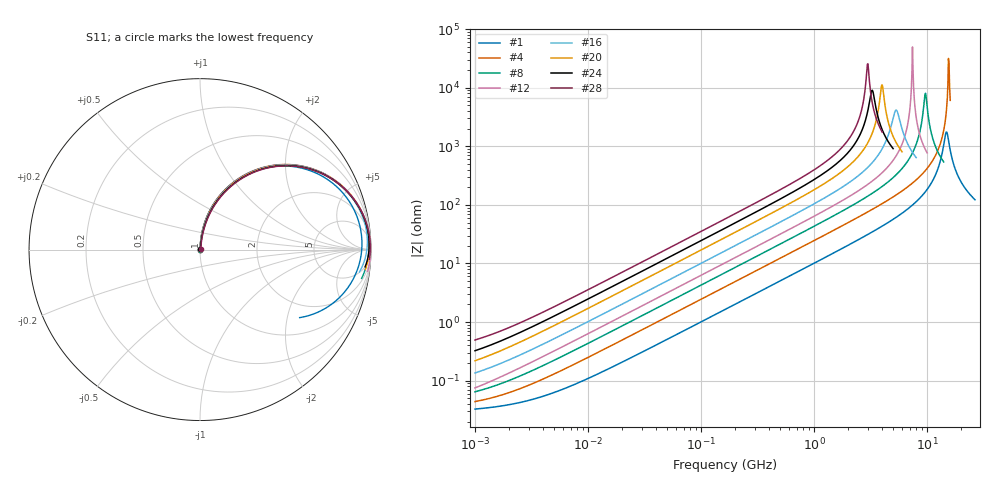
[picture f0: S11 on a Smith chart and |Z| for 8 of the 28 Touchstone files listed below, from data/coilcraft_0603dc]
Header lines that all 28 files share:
!Freq  MagS11  AngS11  MagS21  AngS21  MagS12  AngS12  MagS22  AngS22
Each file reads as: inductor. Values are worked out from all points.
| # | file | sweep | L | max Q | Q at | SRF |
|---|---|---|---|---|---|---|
| 1 | 0603DC-1N6.s2p | 1 MHz to 26.5 GHz | 1.6 nH | 90.2 | 3.5 GHz | 14.88 GHz |
| 2 | 0603DC-2N7.s2p | 1 MHz to 26.5 GHz | 2.7 nH | 123 | 2.051 GHz | 11.92 GHz |
| 3 | 0603DC-3N3.s2p | 1 MHz to 14 GHz | 3.3 nH | 142 | 2.228 GHz | 10.21 GHz |
| 4 | 0603DC-3N9.s2p | 1 MHz to 16 GHz | 3.9 nH | 254 | 5.517 GHz | 15.43 GHz |
| 5 | 0603DC-4N3.s2p | 1 MHz to 16 GHz | 4.3 nH | 195 | 3.279 GHz | 13.34 GHz |
| 6 | 0603DC-5N1.s2p | 1 MHz to 14 GHz | 5.1 nH | 180 | 3.858 GHz | 10.77 GHz |
| 7 | 0603DC-6N2.s2p | 1 MHz to 14 GHz | 6.2 nH | 180 | 3.384 GHz | 11.03 GHz |
| 8 | 0603DC-6N8.s2p | 1 MHz to 14 GHz | 6.8 nH | 143 | 2.282 GHz | 9.556 GHz |
| 9 | 0603DC-7N5.s2p | 1 MHz to 12 GHz | 7.5 nH | 165 | 3.11 GHz | 9.378 GHz |
| 10 | 0603DC-8N2.s2p | 1 MHz to 14 GHz | 8.2 nH | 166 | 3.265 GHz | 8.583 GHz |
| 11 | 0603DC-9N1.s2p | 1 MHz to 10 GHz | 9.1 nH | 153 | 2.884 GHz | 8.222 GHz |
| 12 | 0603DC-10N.s2p | 1 MHz to 10 GHz | 10 nH | 137 | 2.692 GHz | 7.413 GHz |
| 13 | 0603DC-11N.s2p | 1 MHz to 8 GHz | 11 nH | 138 | 2.487 GHz | 7.231 GHz |
| 14 | 0603DC-12N.s2p | 1 MHz to 8 GHz | 12 nH | 142 | 2.273 GHz | 6.319 GHz |
| 15 | 0603DC-15N.s2p | 1 MHz to 8 GHz | 15 nH | 129 | 1.878 GHz | 6.041 GHz |
| 16 | 0603DC-16N.s2p | 1 MHz to 8 GHz | 16 nH | 85.6 | 1.12 GHz | 5.36 GHz |
| 17 | 0603DC-18N.s2p | 1 MHz to 6 GHz | 18 nH | 92.5 | 1.174 GHz | 4.723 GHz |
| 18 | 0603DC-20N.s2p | 1 MHz to 6 GHz | 20 nH | 88.4 | 1.053 GHz | 4.775 GHz |
| 19 | 0603DC-22N.s2p | 1 MHz to 6 GHz | 22 nH | 93.6 | 1.213 GHz | 4.33 GHz |
| 20 | 0603DC-27N.s2p | 1 MHz to 6 GHz | 27 nH | 95 | 1.019 GHz | 3.969 GHz |
| 21 | 0603DC-30N.s2p | 1 MHz to 6 GHz | 30 nH | 79.8 | 976 MHz | 3.759 GHz |
| 22 | 0603DC-33N.s2p | 1 MHz to 5 GHz | 33 nH | 79.5 | 891.1 MHz | 3.556 GHz |
| 23 | 0603DC-36N.s2p | 1 MHz to 5 GHz | 36 nH | 84.1 | 1.034 GHz | 3.873 GHz |
| 24 | 0603DC-39N.s2p | 1 MHz to 5 GHz | 39 nH | 72.6 | 809.7 MHz | 3.266 GHz |
| 25 | 0603DC-43N.s2p | 1 MHz to 4 GHz | 43 nH | 89.5 | 1.129 GHz | 3.606 GHz |
| 26 | 0603DC-47N.s2p | 1 MHz to 4 GHz | 47 nH | 75.4 | 927.3 MHz | 3.119 GHz |
| 27 | 0603DC-51N.s2p | 1 MHz to 4 GHz | 51 nH | 80 | 956.5 MHz | 3.354 GHz |
| 28 | 0603DC-56N.s2p | 1 MHz to 4 GHz | 56 nH | 77.6 | 898.9 MHz | 2.961 GHz |
